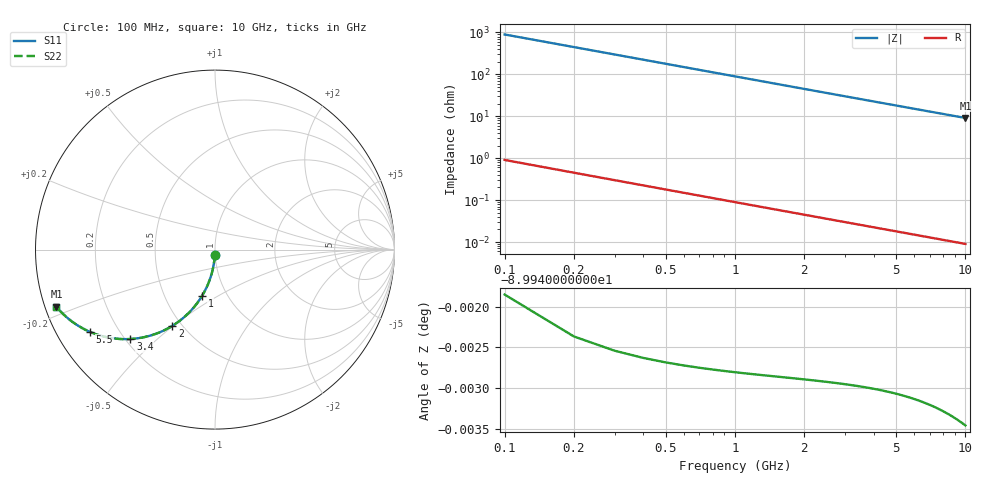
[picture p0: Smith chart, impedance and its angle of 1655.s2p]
# Hz S RI R 50.00
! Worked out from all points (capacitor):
!   100 points, 100 MHz to 10 GHz, reference 50 ohm
!   read as one part in shunt: C = 1.78 pF near 100 MHz
!   lowest |Z| = 9.12 ohm at 10 GHz (marker M1)
!   S11 on the Smith chart (normalised r, x): 100 MHz: 1.00, -0.06; 1 GHz: 0.76, -0.42; 2 GHz: 0.45, -0.50; 3.4 GHz: 0.22, -0.41; 5.5 GHz: 0.10, -0.30; 10 GHz: 0.03, -0.17
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1e8  -0.000804 -0.0279  0.9992 -0.0279  0.9992 -0.0279  -0.000804 -0.0279
2e8  -0.00316 -0.0556  0.9968 -0.0557  0.9968 -0.0557  -0.00316 -0.0556
3e8  -0.00705 -0.0831  0.9929 -0.0832  0.9929 -0.0832  -0.00705 -0.0831
4e8  -0.0124 -0.1102  0.9876 -0.1104  0.9876 -0.1104  -0.0124 -0.1102
5e8  -0.0192 -0.1368  0.9807 -0.137  0.9807 -0.137  -0.0192 -0.1368
6e8  -0.0274 -0.1628  0.9725 -0.163  0.9725 -0.163  -0.0274 -0.1628
7e8  -0.0369 -0.188  0.963 -0.1883  0.963 -0.1883  -0.0369 -0.188
8e8  -0.0477 -0.2124  0.9523 -0.2127  0.9523 -0.2127  -0.0477 -0.2124
1e9  -0.0724 -0.2585  0.9276 -0.2589  0.9276 -0.2589  -0.0724 -0.2585
1.2e9  -0.1009 -0.3006  0.899 -0.301  0.899 -0.301  -0.1009 -0.3006
1.4e9  -0.1324 -0.3382  0.8676 -0.3387  0.8676 -0.3387  -0.1324 -0.3382
1.8e9  -0.2011 -0.4  0.7989 -0.4006  0.7989 -0.4006  -0.2011 -0.4
2e9  -0.2369 -0.4243  0.7631 -0.425  0.7631 -0.425  -0.2369 -0.4243
2.3e9  -0.2907 -0.4532  0.7093 -0.454  0.7093 -0.454  -0.2907 -0.4532
2.7e9  -0.3605 -0.4792  0.6395 -0.4801  0.6395 -0.4801  -0.3605 -0.4792
3.4e9  -0.4711 -0.4981  0.5289 -0.4992  0.5289 -0.4992  -0.4711 -0.4981
4.2e9  -0.5753 -0.4931  0.4247 -0.4945  0.4247 -0.4945  -0.5753 -0.4931
5.1e9  -0.6656 -0.4704  0.3344 -0.4722  0.3344 -0.4722  -0.6656 -0.4704
5.5e9  -0.6981 -0.4576  0.3019 -0.4595  0.3019 -0.4595  -0.6981 -0.4576
6.7e9  -0.7737 -0.4168  0.2263 -0.4191  0.2263 -0.4191  -0.7737 -0.4168
8.4e9  -0.8426 -0.3622  0.1574 -0.3651  0.1574 -0.3651  -0.8426 -0.3622
1e10  -0.8833 -0.3188  0.1167 -0.3223  0.1167 -0.3223  -0.8833 -0.3188
